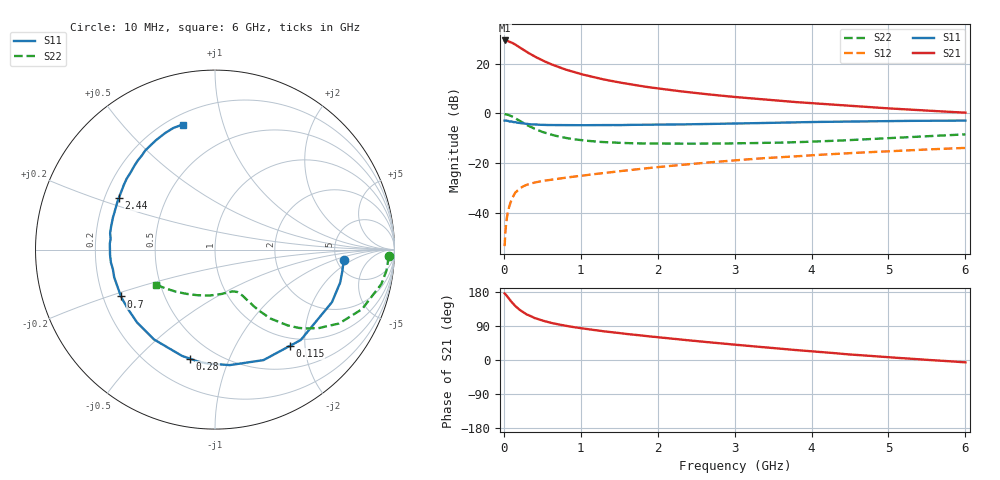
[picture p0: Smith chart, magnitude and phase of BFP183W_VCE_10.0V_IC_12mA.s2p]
! Infineon Technologies  Discrete & RF Semiconductors
! BFP183W
! VCE = 10.0V,  IC =  12 mA
! Common Emitter S-Parameters:  Jan 2016
# GHz  S  MA  R  50
!  f  S11  S21  S12  S22
! GHz  MAG  ANG  MAG  ANG  MAG  ANG  MAG  ANG
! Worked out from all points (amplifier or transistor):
!   210 points, 10 MHz to 6 GHz, reference 50 ohm
!   highest |S21| = 29.3 dB at 10 MHz (marker M1)
!   |S21| within 3 dB of that: start of sweep to 217.1 MHz
!   unconditionally stable (mu >= 1): 1.36 GHz to 5.427 GHz
!   at 185 MHz: K = 0.24, MSG = 28.8 dB, |S12| = -30.7 dB
!   at 1.52 GHz: K = 1.05, MAG = 16.3 dB, |S12| = -23.1 dB
!   at 6 GHz: K = 0.98, MSG = 7.1 dB, |S12| = -13.8 dB
!   S11 on the Smith chart (normalised r, x): 10 MHz: 5.78, -1.42; 115 MHz: 0.85, -1.70; 280 MHz: 0.37, -0.73; 700 MHz: 0.27, -0.22; 2.44 GHz: 0.26, +0.23; 6 GHz: 0.26, +0.74
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0.01  0.7199 -4.7  29.03 175.6  0.0022 83.5  0.9694 -2.2
0.03  0.7213 -14.7  28.89 171.3  0.0063 84.3  0.9625 -7.0
0.05  0.7145 -24.2  28.33 165.8  0.0102 76.4  0.9465 -11.7
0.1  0.6943 -46.5  26.43 153.3  0.0188 67.4  0.8843 -22.0
0.115  0.6792 -52.3  25.59 150.2  0.021 64.7  0.8583 -24.5
0.15  0.6723 -66.3  23.98 142.1  0.0261 60.2  0.8045 -30.8
0.2  0.6488 -82.7  21.36 133.2  0.0306 54.1  0.7228 -37.3
0.28  0.6237 -102.8  17.8 122.6  0.0363 47.9  0.6128 -44.5
0.3  0.6199 -107.3  16.99 120.0  0.0374 46.7  0.5875 -46.1
0.4  0.6051 -124.2  13.85 110.8  0.0414 42.5  0.4939 -51.1
0.42  0.6006 -126.7  13.38 109.6  0.042 42.2  0.4806 -51.6
0.5  0.5944 -137.0  11.57 104.0  0.0446 41.3  0.428 -53.8
0.6  0.5871 -146.1  9.881 98.6  0.0467 40.5  0.3823 -55.6
0.7  0.5856 -153.5  8.65 94.3  0.0493 40.7  0.3492 -56.8
1.02  0.5801 -170.0  6.062 83.5  0.0569 42.5  0.2909 -59.8
1.4  0.5872 176.7  4.483 73.3  0.0671 45.0  0.2633 -63.2
2.02  0.5965 160.7  3.151 59.7  0.0849 47.0  0.2494 -71.5
2.44  0.6081 151.9  2.624 51.2  0.0976 46.9  0.2484 -78.4
3.1  0.6337 139.4  2.08 38.8  0.1184 45.1  0.2535 -91.2
4.1  0.678 123.8  1.572 21.4  0.1487 40.8  0.2761 -113.8
5.1  0.7081 112.3  1.24 5.9  0.178 35.5  0.3257 -134.9
6  0.7199 104.5  1.038 -6.2  0.2047 30.7  0.3817 -149.1
